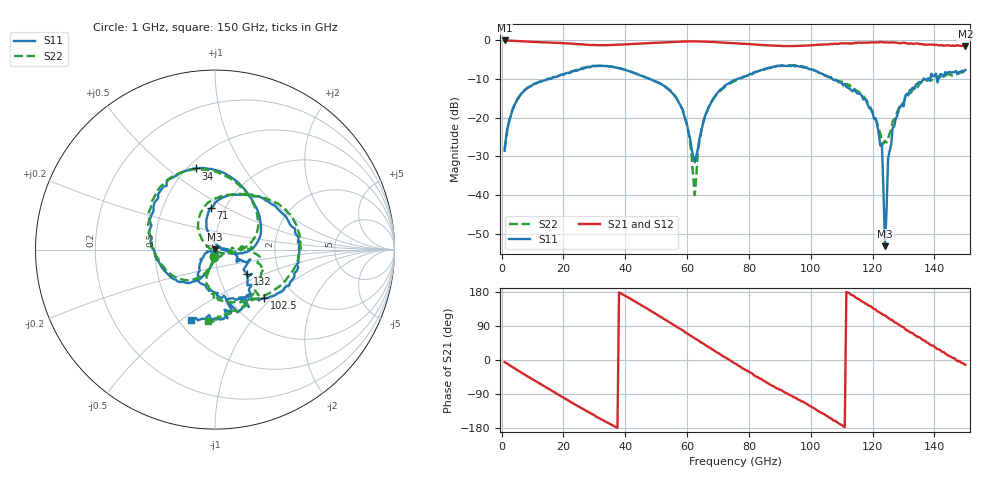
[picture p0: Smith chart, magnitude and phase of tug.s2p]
! hatab_megtron7_step30_1p5mm: multiline TRL calibrated (TUGMultilineTRL, scikit-rf 2.1.0)
! raw data ZiadHatab/verification-multiline-trl-calibration @ 021e735, mean of the repeated sweeps
! reference impedance: characteristic impedance of the 94 um 50 Ohm line,
! NOT 50 Ohm; the R value below is a placeholder required by the format
# Hz S RI R 50
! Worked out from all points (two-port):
!   299 points, 1 GHz to 150 GHz, reference 50 ohm
!   highest |S21| = -0.01 dB at 1 GHz (marker M1); lowest = -1.5 dB at 150 GHz (marker M2)
!   |S21| within 3 dB of the highest: start of sweep to end of sweep
!   lowest |S11| = -53.2 dB at 124 GHz (marker M3), VSWR 1.00, Z = 49.9 + j0.171 ohm
!   |S11| at or under -10 dB: start of sweep to 15.36 GHz; 48 GHz to 76.2 GHz (28.2 GHz wide, 45.4 % of centre); 107 GHz to 136.4 GHz (29.36 GHz wide, 24.1 % of centre)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
!   |S22| runs from -40.0 to -6.4 dB; largest |S21 - S12| = 0.085
!   S11 on the Smith chart (normalised r, x): 1 GHz: 0.99, -0.07; 34 GHz: 0.55, +0.63; 71 GHz: 0.86, +0.43; 102.5 GHz: 1.42, -0.90; 132 GHz: 1.37, -0.40; 150 GHz: 0.58, -0.55
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1e9  -0.00324 -0.0372  0.994 -0.0929  0.9943 -0.0936  -0.00366 -0.0387
6.5e9  -0.1106 -0.176  0.8101 -0.5394  0.8102 -0.5391  -0.1248 -0.1682
1.65e10  -0.3246 -0.0566  0.1268 -0.9266  0.1276 -0.9256  -0.3283 -0.0351
2.6e10  -0.3222 0.2805  -0.5451 -0.7025  -0.5428 -0.7035  -0.3565 0.2538
3.4e10  -0.1072 0.4522  -0.8341 -0.2383  -0.8318 -0.2496  -0.157 0.4397
5.1e10  0.2562 0.1119  -0.4109 0.8398  -0.4295 0.8319  0.2409 0.1438
5.9e10  0.108 -0.0189  0.2357 0.939  0.2235 0.9427  0.1127 -0.0124
6.25e10  0.0183 0.0192  0.5291 0.814  0.5058 0.8267  -0.00776 -0.00628
6.55e10  -0.0351 0.0888  0.7214 0.6418  0.7053 0.6595  -0.0744 0.0594
7.1e10  -0.022 0.2344  0.9152 0.2189  0.9087 0.248  -0.0738 0.215
7.55e10  0.0736 0.3013  0.9054 -0.1477  0.9115 -0.1188  0.0301 0.2968
8.7e10  0.4175 0.1406  0.3541 -0.7829  0.3877 -0.7637  0.3843 0.2289
1.005e11  0.3325 -0.2554  -0.4907 -0.7102  -0.4683 -0.728  0.3754 -0.1877
1.025e11  0.2742 -0.2701  -0.624 -0.6202  -0.5907 -0.6499  0.2981 -0.2455
1.115e11  0.00924 -0.2523  -0.9128 0.0033  -0.9214 -0.0527  0.0187 -0.2809
1.21e11  -0.0814 -0.0553  -0.6458 0.6873  -0.6689 0.6645  -0.0222 -0.0919
1.23e11  -0.0442 -0.0101  -0.498 0.8096  -0.5323 0.7794  0.0108 -0.0492
1.24e11  -0.00135 0.00171  -0.4337 0.8351  -0.4629 0.8208  0.0342 -0.0366
1.25e11  0.0256 0.015  -0.3443 0.8744  -0.4022 0.8549  0.0501 -0.0205
1.255e11  0.0365 0.00574  -0.2995 0.8837  -0.3448 0.8678  0.061 -0.0147
1.32e11  0.1797 -0.1373  0.2522 0.8692  0.1873 0.9038  0.2069 0.00575
1.5e11  -0.1336 -0.3929  0.8227 -0.1865  0.8421 -0.1323  -0.0365 -0.4004
